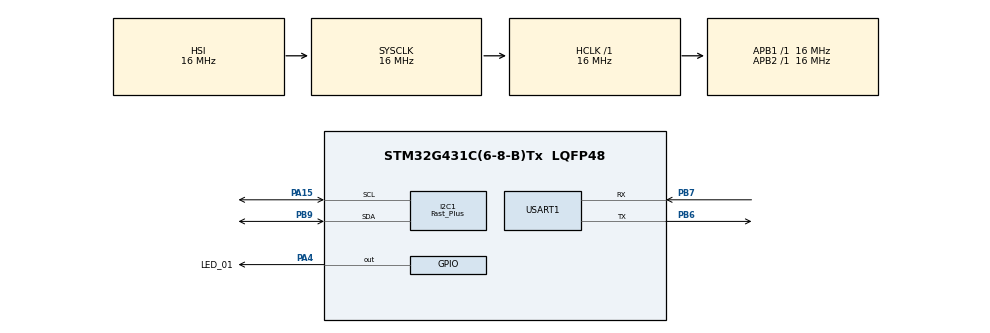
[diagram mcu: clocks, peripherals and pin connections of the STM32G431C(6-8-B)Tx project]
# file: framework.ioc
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Dma.Request0=USART1_RX
Dma.Request1=USART1_TX
Dma.USART1_RX.0.Direction=DMA_PERIPH_TO_MEMORY
Dma.USART1_RX.0.EventEnable=DISABLE
Dma.USART1_RX.0.Instance=DMA1_Channel1
Dma.USART1_RX.0.MemDataAlignment=DMA_MDATAALIGN_BYTE
Dma.USART1_RX.0.MemInc=DMA_MINC_ENABLE
Dma.USART1_RX.0.Mode=DMA_CIRCULAR
Dma.USART1_RX.0.PeriphDataAlignment=DMA_PDATAALIGN_BYTE
Dma.USART1_RX.0.PeriphInc=DMA_PINC_DISABLE
Dma.USART1_RX.0.Polarity=HAL_DMAMUX_REQ_GEN_RISING
Dma.USART1_RX.0.Priority=DMA_PRIORITY_LOW
Dma.USART1_RX.0.RequestNumber=1
Dma.USART1_RX.0.SignalID=NONE
Dma.USART1_RX.0.SyncEnable=DISABLE
Dma.USART1_RX.0.SyncPolarity=HAL_DMAMUX_SYNC_NO_EVENT
Dma.USART1_RX.0.SyncRequestNumber=1
Dma.USART1_RX.0.SyncSignalID=NONE
Dma.USART1_TX.1.Direction=DMA_MEMORY_TO_PERIPH
Dma.USART1_TX.1.EventEnable=DISABLE
Dma.USART1_TX.1.Instance=DMA1_Channel2
Dma.USART1_TX.1.MemDataAlignment=DMA_MDATAALIGN_BYTE
Dma.USART1_TX.1.MemInc=DMA_MINC_ENABLE
Dma.USART1_TX.1.Mode=DMA_NORMAL
Dma.USART1_TX.1.PeriphDataAlignment=DMA_PDATAALIGN_BYTE
Dma.USART1_TX.1.PeriphInc=DMA_PINC_DISABLE
Dma.USART1_TX.1.Polarity=HAL_DMAMUX_REQ_GEN_RISING
Dma.USART1_TX.1.Priority=DMA_PRIORITY_LOW
Dma.USART1_TX.1.RequestNumber=1
Dma.USART1_TX.1.SignalID=NONE
Dma.USART1_TX.1.SyncEnable=DISABLE
Dma.USART1_TX.1.SyncPolarity=HAL_DMAMUX_SYNC_NO_EVENT
Dma.USART1_TX.1.SyncRequestNumber=1
Dma.USART1_TX.1.SyncSignalID=NONE
I2C1.I2C_Speed_Mode=I2C_Fast_Plus
I2C1.Timing=0x00000107
Mcu.Family=STM32G4
Mcu.Name=STM32G431C(6-8-B)Tx
Mcu.Package=LQFP48
NVIC.DMA1_Channel2_IRQn=true\:0\:0\:false\:false\:true\:true\:true\:true
NVIC.PriorityGroup=NVIC_PRIORITYGROUP_4
NVIC.USART1_IRQn=true\:0\:0\:false\:false\:true\:true\:true\:true
PA13.Mode=Serial_Wire
PA13.Signal=SYS_JTMS-SWDIO
PA14.Mode=Serial_Wire
PA14.Signal=SYS_JTCK-SWCLK
PA15.Mode=I2C
PA15.Signal=I2C1_SCL
PA4.GPIO_Label=LED_01
PA4.Signal=GPIO_Output
PB6.Mode=Asynchronous
PB6.Signal=USART1_TX
PB7.Mode=Asynchronous
PB7.Signal=USART1_RX
PB9.Mode=I2C
PB9.Signal=I2C1_SDA
ProjectManager.HeapSize=0x200
ProjectManager.StackSize=0x400
ProjectManager.TargetToolchain=Makefile
RCC.AHBFreq_Value=16000000
RCC.APB1Freq_Value=16000000
RCC.APB1TimFreq_Value=16000000
RCC.APB2Freq_Value=16000000
RCC.APB2TimFreq_Value=16000000
RCC.CortexFreq_Value=16000000
RCC.EXTERNAL_CLOCK_VALUE=12288000
RCC.HCLKFreq_Value=16000000
RCC.HSE_VALUE=8000000
RCC.HSI48_VALUE=48000000
RCC.HSI_VALUE=16000000
RCC.LSE_VALUE=32768
RCC.SYSCLKFreq_VALUE=16000000
RCC.USBFreq_Value=64000000
RCC.VCOOutputFreq_Value=128000000
USART1.VirtualMode-Asynchronous=VM_ASYNC
VP_SYS_VS_DBSignals.Mode=DisableDeadBatterySignals
board=custom

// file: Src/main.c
/* USER CODE BEGIN Header */
/**
  ******************************************************************************
  * @file           : main.c
  * @brief          : Main program body
  ******************************************************************************
  * @attention
  *
  * Copyright (c) 2023 STMicroelectronics.
  * All rights reserved.
  *
  * This software is licensed under terms that can be found in the LICENSE file
  * in the root directory of this software component.
  * If no LICENSE file comes with this software, it is provided AS-IS.
  *
  ******************************************************************************
  */
/* USER CODE END Header */
#include "main.h"
#include "dma.h"
#include "i2c.h"
#include "usart.h"
#include "gpio.h"

/* USER CODE BEGIN Includes */
#include "protocol.h"
#include "cm_backtrace.h"
#include "as5600.h"
#include "printf_log.h"
#include "_assert.h"
/* USER CODE END Includes */

void SystemClock_Config(void);
/* USER CODE BEGIN PFP */
#define APPNAME                        "CmBacktrace"
#define HARDWARE_VERSION               "V1.0.0"
#define SOFTWARE_VERSION               "V0.0.1"
/* USER CODE END PFP */

/* USER CODE BEGIN 0 */
void fault_test_by_div0(void) {
    volatile int * SCB_CCR = (volatile int *) 0xE000ED14; // SCB->CCR
    int x, y, z;

    *SCB_CCR |= (1 << 4); /* bit4: DIV_0_TRP. */

    x = 10;
    y = 0;
    z = x / y;
    printf("z:%d\n", z);
}
void A_FUNC(void)
{
    fault_test_by_div0();
}

/* USER CODE END 0 */

int main(void)
{

  /* MCU Configuration--------------------------------------------------------*/

  /* Reset of all peripherals, Initializes the Flash interface and the Systick. */
  HAL_Init();

  /* Configure the system clock */
  SystemClock_Config();

  /* Initialize all configured peripherals */
  MX_GPIO_Init();
  MX_DMA_Init();
  MX_USART1_UART_Init();
  MX_I2C1_Init();
  /* USER CODE BEGIN 2 */
  USER_DEBUG("hello world\r\n");
  cm_backtrace_init(APPNAME,HARDWARE_VERSION,SOFTWARE_VERSION);
  protocol_init();
  i2c_bus_creat();
  as5600_init();
  /* USER CODE END 2 */

  /* Infinite loop */
  /* USER CODE BEGIN WHILE */

  while (1)
  {
    HAL_GPIO_TogglePin(LED_01_GPIO_Port,LED_01_Pin);
    HAL_Delay(1);
    protocol_process();

    // as5600_process();
    /* USER CODE END WHILE */

  }
}

void SystemClock_Config(void)
{
  RCC_OscInitTypeDef RCC_OscInitStruct = {0};
  RCC_ClkInitTypeDef RCC_ClkInitStruct = {0};

  /** Configure the main internal regulator output voltage
  */
  HAL_PWREx_ControlVoltageScaling(PWR_REGULATOR_VOLTAGE_SCALE1);

  /** Initializes the RCC Oscillators according to the specified parameters
  * in the RCC_OscInitTypeDef structure.
  */
  RCC_OscInitStruct.OscillatorType = RCC_OSCILLATORTYPE_HSI;
  RCC_OscInitStruct.HSIState = RCC_HSI_ON;
  RCC_OscInitStruct.HSICalibrationValue = RCC_HSICALIBRATION_DEFAULT;
  RCC_OscInitStruct.PLL.PLLState = RCC_PLL_NONE;
  if (HAL_RCC_OscConfig(&RCC_OscInitStruct) != HAL_OK)
  {
    Error_Handler();
  }

  /** Initializes the CPU, AHB and APB buses clocks
  */
  RCC_ClkInitStruct.ClockType = RCC_CLOCKTYPE_HCLK|RCC_CLOCKTYPE_SYSCLK
                              |RCC_CLOCKTYPE_PCLK1|RCC_CLOCKTYPE_PCLK2;
  RCC_ClkInitStruct.SYSCLKSource = RCC_SYSCLKSOURCE_HSI;
  RCC_ClkInitStruct.AHBCLKDivider = RCC_SYSCLK_DIV1;
  RCC_ClkInitStruct.APB1CLKDivider = RCC_HCLK_DIV1;
  RCC_ClkInitStruct.APB2CLKDivider = RCC_HCLK_DIV1;

  if (HAL_RCC_ClockConfig(&RCC_ClkInitStruct, FLASH_LATENCY_0) != HAL_OK)
  {
    Error_Handler();
  }
}

void Error_Handler(void)
{
  __disable_irq();
  while (1)
  {
  }
}
